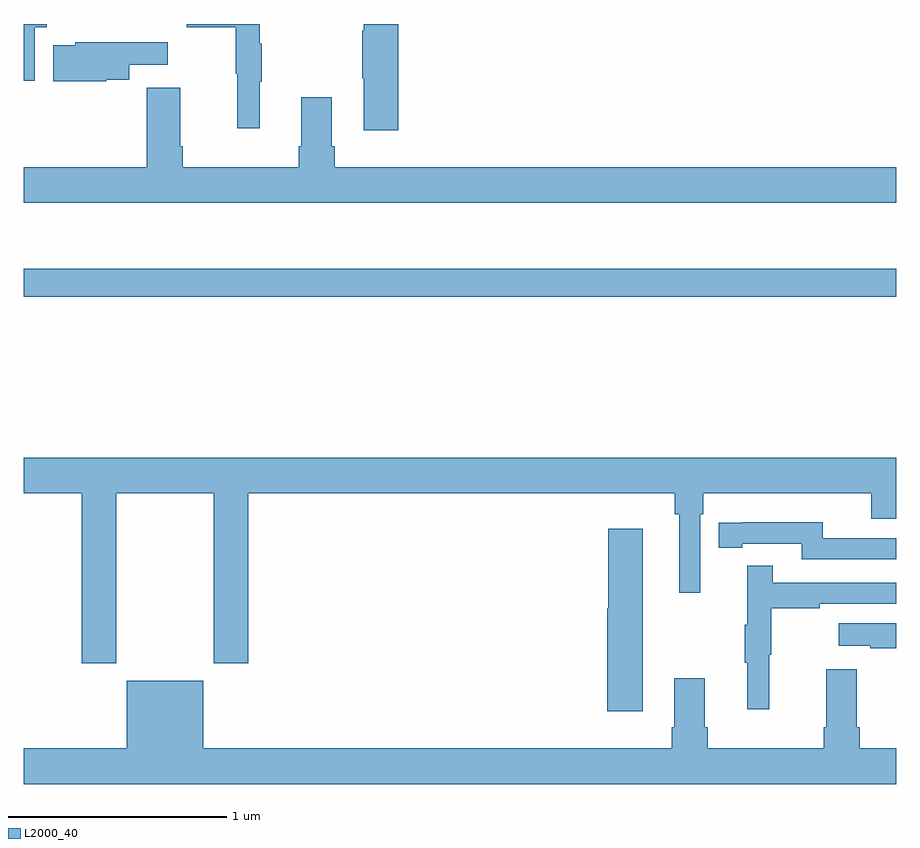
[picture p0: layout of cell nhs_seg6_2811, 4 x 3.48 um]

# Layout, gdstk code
import gdstk
lib = gdstk.Library(unit=1e-6, precision=1e-09)
def R(c, l, rs):  # rectangles x0, y0, x1, y1
    for r in rs: c.add(gdstk.rectangle(r[:2], r[2:], *l))
def P(c, l, *ps):  # polygons
    for p in ps: c.add(gdstk.Polygon(p, *l))
L2000_40 = (2000, 40)

nhs_seg6_2811 = lib.new_cell('nhs_seg6_2811')
R(nhs_seg6_2811, L2000_40, [(277,936.25,281,936.379)])
P(nhs_seg6_2811, L2000_40, [(278.717,937.5),(278.558,937.5),(278.558,937.469),(278.551,937.469),(278.551,937.252),(278.558,937.252),(278.558,937.014),(278.717,937.014)],
  [(277.05,937.485),(277.105,937.485),(277.105,937.5),(277,937.5),(277,937.239),(277.05,937.239)],
  [(278.081,937.235),(278.092,937.235),(278.092,937.409),(278.081,937.409),(278.081,937.5),(277.747,937.5),(277.747,937.486),(277.971,937.486),(277.971,937.272),(277.978,937.272),(277.978,937.023),(278.081,937.023)],
  [(277.379,937.244),(277.483,937.244),(277.483,937.313),(277.66,937.313),(277.66,937.417),(277.236,937.417),(277.236,937.402),(277.135,937.402),(277.135,937.237),(277.379,937.237)],
  [(281,936.844),(278.426,936.844),(278.426,936.94),(278.413,936.94),(278.413,937.165),(278.273,937.165),(278.273,936.94),(278.261,936.94),(278.261,936.844),(277.73,936.844),(277.73,936.94),(277.717,936.94),(277.717,937.207),(277.565,937.207),(277.565,936.844),(277,936.844),(277,936.68),(281,936.68)],
  [(277.425,935.348),(277.87,935.348),(277.87,934.569),(278.03,934.569),(278.03,935.348),(279.985,935.348),(279.985,935.252),(280.004,935.252),(280.004,934.893),(280.101,934.893),(280.101,935.252),(280.115,935.252),(280.115,935.348),(280.886,935.348),(280.886,935.231),(281,935.231),(281,935.512),(277,935.512),(277,935.348),(277.265,935.348),(277.265,934.569),(277.425,934.569)],
  [(281,935.142),(280.662,935.142),(280.662,935.215),(280.294,935.215),(280.294,935.214),(280.186,935.214),(280.186,935.098),(280.294,935.098),(280.294,935.118),(280.566,935.118),(280.566,935.046),(281,935.046)],
  [(279.838,935.185),(279.68,935.185),(279.68,934.821),(279.674,934.821),(279.674,934.35),(279.838,934.35)],
  [(280.418,934.608),(280.426,934.608),(280.426,934.822),(280.649,934.822),(280.649,934.842),(281,934.842),(281,934.938),(280.433,934.938),(280.433,935.017),(280.316,935.017),(280.316,934.745),(280.305,934.745),(280.305,934.571),(280.316,934.571),(280.316,934.359),(280.418,934.359)],
  [(281,934.753),(280.737,934.753),(280.737,934.649),(280.88,934.649),(280.88,934.639),(281,934.639)],
  [(281,934.18),(280.832,934.18),(280.832,934.276),(280.819,934.276),(280.819,934.543),(280.679,934.543),(280.679,934.276),(280.667,934.276),(280.667,934.18),(280.136,934.18),(280.136,934.276),(280.123,934.276),(280.123,934.501),(279.983,934.501),(279.983,934.276),(279.971,934.276),(279.971,934.18),(277.822,934.18),(277.822,934.489),(277.472,934.489),(277.472,934.18),(277,934.18),(277,934.016),(281,934.016)])

lib.write_gds('nhs_seg6_2811.gds')
